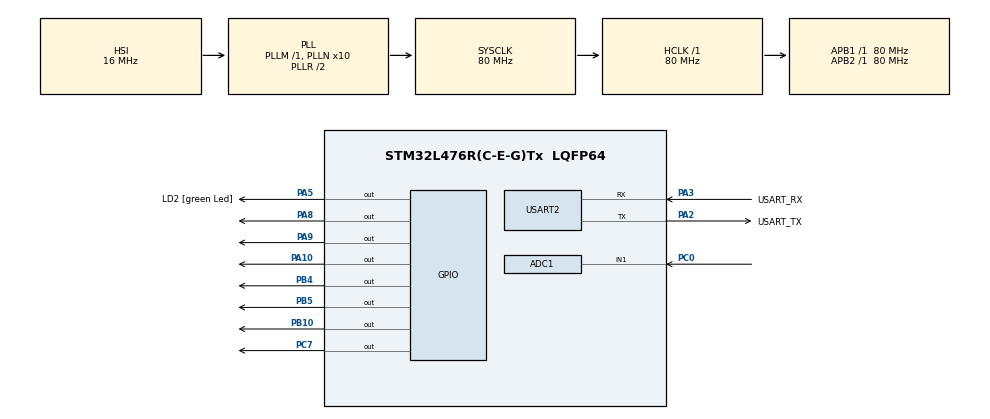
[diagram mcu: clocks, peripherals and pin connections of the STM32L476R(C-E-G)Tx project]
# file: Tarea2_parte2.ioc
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ADC1.Channel-0\#ChannelRegularConversion=ADC_CHANNEL_1
ADC1.NbrOfConversionFlag=1
ADC1.OffsetNumber-0\#ChannelRegularConversion=ADC_OFFSET_NONE
ADC1.Rank-0\#ChannelRegularConversion=1
ADC1.SamplingTime-0\#ChannelRegularConversion=ADC_SAMPLETIME_2CYCLES_5
ADC1.master=1
FREERTOS.Queues01=Queue01,20,float,0,Dynamic,NULL,NULL;QueueADC,5,uint16_t,0,Dynamic,NULL,NULL;QueueLED,5,uint8_t,0,Dynamic,NULL,NULL
FREERTOS.Tasks01=Task1,24,512,StartTask1,Default,NULL,Dynamic,NULL,NULL;AdqTask,32,128,StartAdqTask,Default,NULL,Dynamic,NULL,NULL;ProcTask,24,256,StartProcTask,Default,NULL,Dynamic,NULL,NULL;CtrlTask,24,256,StartCtrlTask,Default,NULL,Dynamic,NULL,NULL
FREERTOS.configTOTAL_HEAP_SIZE=6000
FREERTOS.configUSE_NEWLIB_REENTRANT=1
Mcu.Family=STM32L4
Mcu.Name=STM32L476R(C-E-G)Tx
Mcu.Package=LQFP64
NVIC.PriorityGroup=NVIC_PRIORITYGROUP_4
NVIC.TIM6_DAC_IRQn=true\:15\:0\:false\:false\:true\:false\:false\:true\:true
NVIC.TimeBase=TIM6_DAC_IRQn
NVIC.TimeBaseIP=TIM6
NVIC.USART2_IRQn=true\:5\:0\:false\:false\:true\:true\:true\:true\:true
PA10.Signal=GPIO_Output
PA13\ (JTMS-SWDIO).GPIO_Label=TMS
PA13\ (JTMS-SWDIO).Mode=Serial_Wire
PA13\ (JTMS-SWDIO).Signal=SYS_JTMS-SWDIO
PA14\ (JTCK-SWCLK).GPIO_Label=TCK
PA14\ (JTCK-SWCLK).Mode=Serial_Wire
PA14\ (JTCK-SWCLK).Signal=SYS_JTCK-SWCLK
PA2.GPIO_Label=USART_TX
PA2.GPIO_Mode=GPIO_MODE_AF_PP
PA2.GPIO_PuPd=GPIO_NOPULL
PA2.GPIO_Speed=GPIO_SPEED_FREQ_VERY_HIGH
PA2.Mode=Asynchronous
PA2.Signal=USART2_TX
PA3.GPIO_Label=USART_RX
PA3.GPIO_Mode=GPIO_MODE_AF_PP
PA3.GPIO_PuPd=GPIO_NOPULL
PA3.GPIO_Speed=GPIO_SPEED_FREQ_VERY_HIGH
PA3.Mode=Asynchronous
PA3.Signal=USART2_RX
PA5.GPIO_Label=LD2 [green Led]
PA5.Signal=GPIO_Output
PA8.Signal=GPIO_Output
PA9.Signal=GPIO_Output
PB10.Signal=GPIO_Output
PB3\ (JTDO-TRACESWO).GPIO_Label=SWO
PB3\ (JTDO-TRACESWO).Signal=SYS_JTDO-SWO
PB4\ (NJTRST).Signal=GPIO_Output
PB5.Signal=GPIO_Output
PC0.Signal=ADCx_IN1
PC14-OSC32_IN\ (PC14).Mode=LSE-External-Oscillator
PC14-OSC32_IN\ (PC14).Signal=RCC_OSC32_IN
PC15-OSC32_OUT\ (PC15).Mode=LSE-External-Oscillator
PC15-OSC32_OUT\ (PC15).Signal=RCC_OSC32_OUT
PC7.Signal=GPIO_Output
PH0-OSC_IN\ (PH0).Signal=RCC_OSC_IN
PH1-OSC_OUT\ (PH1).Signal=RCC_OSC_OUT
ProjectManager.HeapSize=0x200
ProjectManager.StackSize=0x400
ProjectManager.TargetToolchain=STM32CubeIDE
RCC.ADCFreq_Value=64000000
RCC.AHBFreq_Value=80000000
RCC.APB1Freq_Value=80000000
RCC.APB1TimFreq_Value=80000000
RCC.APB2Freq_Value=80000000
RCC.APB2TimFreq_Value=80000000
RCC.CortexFreq_Value=80000000
RCC.HCLKFreq_Value=80000000
RCC.HSE_VALUE=8000000
RCC.HSI_VALUE=16000000
RCC.MSI_VALUE=4000000
RCC.PLLN=10
RCC.PLLSourceVirtual=RCC_PLLSOURCE_HSI
RCC.PREFETCH_ENABLE=1
RCC.SYSCLKFreq_VALUE=80000000
RCC.SYSCLKSource=RCC_SYSCLKSOURCE_PLLCLK
RCC.USBFreq_Value=64000000
RCC.VCOOutputFreq_Value=160000000
SH.ADCx_IN1.0=ADC1_IN1,IN1-Single-Ended
USART2.VirtualMode-Asynchronous=VM_ASYNC
VP_FREERTOS_VS_CMSIS_V2.Mode=CMSIS_V2
VP_SYS_VS_tim6.Mode=TIM6
board=NUCLEO-L476RG

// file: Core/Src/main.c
/* USER CODE BEGIN Header */
/**
  ******************************************************************************
  * @file           : main.c
  * @brief          : Main program body
  ******************************************************************************
  * @attention
  *
  * Copyright (c) 2026 STMicroelectronics.
  * All rights reserved.
  *
  * This software is licensed under terms that can be found in the LICENSE file
  * in the root directory of this software component.
  * If no LICENSE file comes with this software, it is provided AS-IS.
  *
  ******************************************************************************
  */
/* USER CODE END Header */
#include "main.h"
#include "cmsis_os.h"

/* USER CODE BEGIN Includes */

#include <string.h>  // memcpy
#include <stdio.h>   // sprintf
#include <math.h>    // sqrtf (desviación estándar)

/* USER CODE END Includes */

ADC_HandleTypeDef hadc1;

UART_HandleTypeDef huart2;

/* Definitions for Task1 */
osThreadId_t Task1Handle;
const osThreadAttr_t Task1_attributes = {
  .name = "Task1",
  .stack_size = 512 * 4,
  .priority = (osPriority_t) osPriorityNormal,
};
/* Definitions for AdqTask */
osThreadId_t AdqTaskHandle;
const osThreadAttr_t AdqTask_attributes = {
  .name = "AdqTask",
  .stack_size = 128 * 4,
  .priority = (osPriority_t) osPriorityAboveNormal,
};
/* Definitions for ProcTask */
osThreadId_t ProcTaskHandle;
const osThreadAttr_t ProcTask_attributes = {
  .name = "ProcTask",
  .stack_size = 256 * 4,
  .priority = (osPriority_t) osPriorityNormal,
};
/* Definitions for CtrlTask */
osThreadId_t CtrlTaskHandle;
const osThreadAttr_t CtrlTask_attributes = {
  .name = "CtrlTask",
  .stack_size = 256 * 4,
  .priority = (osPriority_t) osPriorityNormal,
};
/* Definitions for Queue01 */
osMessageQueueId_t Queue01Handle;
const osMessageQueueAttr_t Queue01_attributes = {
  .name = "Queue01"
};
/* Definitions for QueueADC */
osMessageQueueId_t QueueADCHandle;
const osMessageQueueAttr_t QueueADC_attributes = {
  .name = "QueueADC"
};
/* Definitions for QueueLED */
osMessageQueueId_t QueueLEDHandle;
const osMessageQueueAttr_t QueueLED_attributes = {
  .name = "QueueLED"
};
/* USER CODE BEGIN PV */

float valor_rx;           // Valor float reconstruido
uint8_t buffer_uart[4];   // Buffer temporal para los 4 bytes del float de Rx

//uint16_t raw_val;
//uint32_t adc_raw;

/* USER CODE END PV */

void SystemClock_Config(void);
static void MX_GPIO_Init(void);
static void MX_USART2_UART_Init(void);
static void MX_ADC1_Init(void);
void StartTask1(void *argument);
void StartAdqTask(void *argument);
void StartProcTask(void *argument);
void StartCtrlTask(void *argument);

int main(void)
{

  /* MCU Configuration--------------------------------------------------------*/

  /* Reset of all peripherals, Initializes the Flash interface and the Systick. */
  HAL_Init();

  /* Configure the system clock */
  SystemClock_Config();

  /* Initialize all configured peripherals */
  MX_GPIO_Init();
  MX_USART2_UART_Init();
  MX_ADC1_Init();
  /* USER CODE BEGIN 2 */

  HAL_UART_Receive_IT(&huart2, buffer_uart, 4);	// Se almacena en el buffer las 4 tramas (float)

  /* USER CODE END 2 */

  /* Init scheduler */
  osKernelInitialize();

  /* Create the queue(s) */
  /* creation of Queue01 */
  Queue01Handle = osMessageQueueNew (20, sizeof(float), &Queue01_attributes);

  /* creation of QueueADC */
  QueueADCHandle = osMessageQueueNew (5, sizeof(uint16_t), &QueueADC_attributes);

  /* creation of QueueLED */
  QueueLEDHandle = osMessageQueueNew (5, sizeof(uint8_t), &QueueLED_attributes);

  /* Create the thread(s) */
  /* creation of Task1 */
  Task1Handle = osThreadNew(StartTask1, NULL, &Task1_attributes);

  /* creation of AdqTask */
  AdqTaskHandle = osThreadNew(StartAdqTask, NULL, &AdqTask_attributes);

  /* creation of ProcTask */
  ProcTaskHandle = osThreadNew(StartProcTask, NULL, &ProcTask_attributes);

  /* creation of CtrlTask */
  CtrlTaskHandle = osThreadNew(StartCtrlTask, NULL, &CtrlTask_attributes);

  /* Start scheduler */
  osKernelStart();

  /* We should never get here as control is now taken by the scheduler */

  /* Infinite loop */
  while (1)
  {

  }
}

void SystemClock_Config(void)
{
  RCC_OscInitTypeDef RCC_OscInitStruct = {0};
  RCC_ClkInitTypeDef RCC_ClkInitStruct = {0};

  /** Configure the main internal regulator output voltage
  */
  if (HAL_PWREx_ControlVoltageScaling(PWR_REGULATOR_VOLTAGE_SCALE1) != HAL_OK)
  {
    Error_Handler();
  }

  /** Initializes the RCC Oscillators according to the specified parameters
  * in the RCC_OscInitTypeDef structure.
  */
  RCC_OscInitStruct.OscillatorType = RCC_OSCILLATORTYPE_HSI;
  RCC_OscInitStruct.HSIState = RCC_HSI_ON;
  RCC_OscInitStruct.HSICalibrationValue = RCC_HSICALIBRATION_DEFAULT;
  RCC_OscInitStruct.PLL.PLLState = RCC_PLL_ON;
  RCC_OscInitStruct.PLL.PLLSource = RCC_PLLSOURCE_HSI;
  RCC_OscInitStruct.PLL.PLLM = 1;
  RCC_OscInitStruct.PLL.PLLN = 10;
  RCC_OscInitStruct.PLL.PLLP = RCC_PLLP_DIV7;
  RCC_OscInitStruct.PLL.PLLQ = RCC_PLLQ_DIV2;
  RCC_OscInitStruct.PLL.PLLR = RCC_PLLR_DIV2;
  if (HAL_RCC_OscConfig(&RCC_OscInitStruct) != HAL_OK)
  {
    Error_Handler();
  }

  /** Initializes the CPU, AHB and APB buses clocks
  */
  RCC_ClkInitStruct.ClockType = RCC_CLOCKTYPE_HCLK|RCC_CLOCKTYPE_SYSCLK
                              |RCC_CLOCKTYPE_PCLK1|RCC_CLOCKTYPE_PCLK2;
  RCC_ClkInitStruct.SYSCLKSource = RCC_SYSCLKSOURCE_PLLCLK;
  RCC_ClkInitStruct.AHBCLKDivider = RCC_SYSCLK_DIV1;
  RCC_ClkInitStruct.APB1CLKDivider = RCC_HCLK_DIV1;
  RCC_ClkInitStruct.APB2CLKDivider = RCC_HCLK_DIV1;

  if (HAL_RCC_ClockConfig(&RCC_ClkInitStruct, FLASH_LATENCY_4) != HAL_OK)
  {
    Error_Handler();
  }
}

static void MX_ADC1_Init(void)
{

  ADC_MultiModeTypeDef multimode = {0};
  ADC_ChannelConfTypeDef sConfig = {0};

  /** Common config
  */
  hadc1.Instance = ADC1;
  hadc1.Init.ClockPrescaler = ADC_CLOCK_ASYNC_DIV1;
  hadc1.Init.Resolution = ADC_RESOLUTION_12B;
  hadc1.Init.DataAlign = ADC_DATAALIGN_RIGHT;
  hadc1.Init.ScanConvMode = ADC_SCAN_DISABLE;
  hadc1.Init.EOCSelection = ADC_EOC_SINGLE_CONV;
  hadc1.Init.LowPowerAutoWait = DISABLE;
  hadc1.Init.ContinuousConvMode = DISABLE;
  hadc1.Init.NbrOfConversion = 1;
  hadc1.Init.DiscontinuousConvMode = DISABLE;
  hadc1.Init.ExternalTrigConv = ADC_SOFTWARE_START;
  hadc1.Init.ExternalTrigConvEdge = ADC_EXTERNALTRIGCONVEDGE_NONE;
  hadc1.Init.DMAContinuousRequests = DISABLE;
  hadc1.Init.Overrun = ADC_OVR_DATA_PRESERVED;
  hadc1.Init.OversamplingMode = DISABLE;
  if (HAL_ADC_Init(&hadc1) != HAL_OK)
  {
    Error_Handler();
  }

  /** Configure the ADC multi-mode
  */
  multimode.Mode = ADC_MODE_INDEPENDENT;
  if (HAL_ADCEx_MultiModeConfigChannel(&hadc1, &multimode) != HAL_OK)
  {
    Error_Handler();
  }

  /** Configure Regular Channel
  */
  sConfig.Channel = ADC_CHANNEL_1;
  sConfig.Rank = ADC_REGULAR_RANK_1;
  sConfig.SamplingTime = ADC_SAMPLETIME_2CYCLES_5;
  sConfig.SingleDiff = ADC_SINGLE_ENDED;
  sConfig.OffsetNumber = ADC_OFFSET_NONE;
  sConfig.Offset = 0;
  if (HAL_ADC_ConfigChannel(&hadc1, &sConfig) != HAL_OK)
  {
    Error_Handler();
  }

}

static void MX_USART2_UART_Init(void)
{

  huart2.Instance = USART2;
  huart2.Init.BaudRate = 115200;
  huart2.Init.WordLength = UART_WORDLENGTH_8B;
  huart2.Init.StopBits = UART_STOPBITS_1;
  huart2.Init.Parity = UART_PARITY_NONE;
  huart2.Init.Mode = UART_MODE_TX_RX;
  huart2.Init.HwFlowCtl = UART_HWCONTROL_NONE;
  huart2.Init.OverSampling = UART_OVERSAMPLING_16;
  huart2.Init.OneBitSampling = UART_ONE_BIT_SAMPLE_DISABLE;
  huart2.AdvancedInit.AdvFeatureInit = UART_ADVFEATURE_NO_INIT;
  if (HAL_UART_Init(&huart2) != HAL_OK)
  {
    Error_Handler();
  }

}

static void MX_GPIO_Init(void)
{
  GPIO_InitTypeDef GPIO_InitStruct = {0};

  /* GPIO Ports Clock Enable */
  __HAL_RCC_GPIOC_CLK_ENABLE();
  __HAL_RCC_GPIOH_CLK_ENABLE();
  __HAL_RCC_GPIOA_CLK_ENABLE();
  __HAL_RCC_GPIOB_CLK_ENABLE();

  /*Configure GPIO pin Output Level */
  HAL_GPIO_WritePin(GPIOA, LD2_Pin|GPIO_PIN_8|GPIO_PIN_9|GPIO_PIN_10, GPIO_PIN_RESET);

  /*Configure GPIO pin Output Level */
  HAL_GPIO_WritePin(GPIOB, GPIO_PIN_10|GPIO_PIN_4|GPIO_PIN_5, GPIO_PIN_RESET);

  /*Configure GPIO pin Output Level */
  HAL_GPIO_WritePin(GPIOC, GPIO_PIN_7, GPIO_PIN_RESET);

  /*Configure GPIO pins : LD2_Pin PA8 PA9 PA10 */
  GPIO_InitStruct.Pin = LD2_Pin|GPIO_PIN_8|GPIO_PIN_9|GPIO_PIN_10;
  GPIO_InitStruct.Mode = GPIO_MODE_OUTPUT_PP;
  GPIO_InitStruct.Pull = GPIO_NOPULL;
  GPIO_InitStruct.Speed = GPIO_SPEED_FREQ_LOW;
  HAL_GPIO_Init(GPIOA, &GPIO_InitStruct);

  /*Configure GPIO pins : PB10 PB4 PB5 */
  GPIO_InitStruct.Pin = GPIO_PIN_10|GPIO_PIN_4|GPIO_PIN_5;
  GPIO_InitStruct.Mode = GPIO_MODE_OUTPUT_PP;
  GPIO_InitStruct.Pull = GPIO_NOPULL;
  GPIO_InitStruct.Speed = GPIO_SPEED_FREQ_LOW;
  HAL_GPIO_Init(GPIOB, &GPIO_InitStruct);

  /*Configure GPIO pin : PC7 */
  GPIO_InitStruct.Pin = GPIO_PIN_7;
  GPIO_InitStruct.Mode = GPIO_MODE_OUTPUT_PP;
  GPIO_InitStruct.Pull = GPIO_NOPULL;
  GPIO_InitStruct.Speed = GPIO_SPEED_FREQ_LOW;
  HAL_GPIO_Init(GPIOC, &GPIO_InitStruct);

}

/* USER CODE BEGIN 4 */

// RX UART
void HAL_UART_RxCpltCallback(UART_HandleTypeDef *huart)
{
    if(huart->Instance == USART2)
    {
        // Copia segura de los 4 bytes del buffer al float
        memcpy(&valor_rx, buffer_uart, sizeof(float));

        // Enviar a la cola de FreeRTOS
        osMessageQueuePut(Queue01Handle, &valor_rx, 0, 0);

        // Reactivar interrupción para los próximos 4 bytes
        HAL_UART_Receive_IT(&huart2, buffer_uart, 4);
    }
}

/* USER CODE END 4 */

void StartTask1(void *argument)
{
  /* USER CODE BEGIN 5 */
  float datos[100];
  int contador = 0;
  float suma, promedio, suma_cuadrados, desv_est;
  float valor_recibido;
  float resultados[2]; // Arreglo a enviar [Promedio, Desviación]

  for(;;)
  {
    if (osMessageQueueGet(Queue01Handle, &valor_recibido, NULL, osWaitForever) == osOK)	// Consumir datos
    {

      HAL_GPIO_WritePin(GPIOA, GPIO_PIN_10, GPIO_PIN_SET);

      datos[contador++] = valor_recibido;	// Contador de 100 valores

      if (contador == 100)	// Cuando llegue a 100 datos consumidos se empieza a calcular
      {
        // PROMEDIO
        suma = 0;
        for(int i = 0; i < 100; i++) suma += datos[i];
        promedio = suma / 100.0f;

        // DESVIACION ESTANDAR
        suma_cuadrados = 0;
        for(int i = 0; i < 100; i++) {
          suma_cuadrados += powf(datos[i] - promedio, 2);
        }
        desv_est = sqrtf(suma_cuadrados / 100.0f);

        // PREPARAR ENVÍO
        resultados[0] = promedio;
        resultados[1] = desv_est;

        // UART TX
        HAL_UART_Transmit(&huart2, (uint8_t*)resultados, sizeof(resultados), HAL_MAX_DELAY);

        contador = 0;
      }

      HAL_GPIO_WritePin(GPIOA, GPIO_PIN_10, GPIO_PIN_RESET);
    }
  }
  /* USER CODE END 5 */
}

void StartAdqTask(void *argument)
{
  /* USER CODE BEGIN StartAdqTask */

  uint16_t adc_raw;

  /* Infinite loop */
  for(;;)
  {
	HAL_GPIO_WritePin(GPIOB, GPIO_PIN_5, GPIO_PIN_SET);
	HAL_ADC_Start(&hadc1);										// Empieza a medir el ADC
	if (HAL_ADC_PollForConversion(&hadc1, 10) == HAL_OK) {		// Si el valor es estable se guarda
		adc_raw = (uint16_t)HAL_ADC_GetValue(&hadc1);			// Lee el dato
	    osMessageQueuePut(QueueADCHandle, &adc_raw, 0, 0);		// Escribe en la cola
	}
	HAL_GPIO_WritePin(GPIOB, GPIO_PIN_5, GPIO_PIN_RESET);
    osDelay(100);												// Cada 100 ms se ejecuta
  }
  /* USER CODE END StartAdqTask */
}

void StartProcTask(void *argument)
{
  /* USER CODE BEGIN StartProcTask */

  uint16_t raw_val;

  uint8_t led_id;

  for(;;)
  {
    // Se bloquea hasta recibir un dato de Adquisición
    if (osMessageQueueGet(QueueADCHandle, &raw_val, NULL, osWaitForever) == osOK)
    {
      HAL_GPIO_WritePin(GPIOB, GPIO_PIN_4, GPIO_PIN_SET);
      //Umbrales: 1.1V -> 1365  |  2.2V -> 2730
      if (raw_val <= 1365) {
        led_id = 1; // Rango Bajo
      }
      else if (raw_val <= 2730) {
        led_id = 2; // Rango Medio
      }
      else {
        led_id = 3; // Rango Alto
      }
      // Se escribe sobre la queue de control
      osMessageQueuePut(QueueLEDHandle, &led_id, 0, 0);
      HAL_GPIO_WritePin(GPIOB, GPIO_PIN_4, GPIO_PIN_RESET);
    }
  }
  /* USER CODE END StartProcTask */
}

void StartCtrlTask(void *argument)
{
  /* USER CODE BEGIN StartCtrlTask */
  uint8_t state;

  for(;;)
  {
    // Se bloquea hasta recibir la decisión de Procesamiento
    if (osMessageQueueGet(QueueLEDHandle, &state, NULL, osWaitForever) == osOK)
    {
      HAL_GPIO_WritePin(GPIOA, LD2_Pin, GPIO_PIN_SET);
      HAL_GPIO_WritePin(GPIOB, GPIO_PIN_10, GPIO_PIN_SET);
      //  Apagar todos los LEDs primero
      HAL_GPIO_WritePin(GPIOA, GPIO_PIN_8 | GPIO_PIN_9, GPIO_PIN_RESET);
      HAL_GPIO_WritePin(GPIOC, GPIO_PIN_7, GPIO_PIN_RESET);

      // 2. Encender solo el que corresponde
      if (state == 1) {
    	  HAL_GPIO_WritePin(GPIOA, GPIO_PIN_8, GPIO_PIN_SET);
      }
      else if (state == 2) {
    	  HAL_GPIO_WritePin(GPIOA, GPIO_PIN_9, GPIO_PIN_SET);
      }
      else if (state == 3) {
    	  HAL_GPIO_WritePin(GPIOC, GPIO_PIN_7, GPIO_PIN_SET);
      }
      HAL_GPIO_WritePin(GPIOB, GPIO_PIN_10, GPIO_PIN_RESET);
      HAL_GPIO_WritePin(GPIOA, LD2_Pin, GPIO_PIN_RESET);
    }
  }
  /* USER CODE END StartCtrlTask */
}

void HAL_TIM_PeriodElapsedCallback(TIM_HandleTypeDef *htim)
{
  if (htim->Instance == TIM6)
  {
    HAL_IncTick();
  }
}

void Error_Handler(void)
{
  __disable_irq();
  while (1)
  {
  }
}
